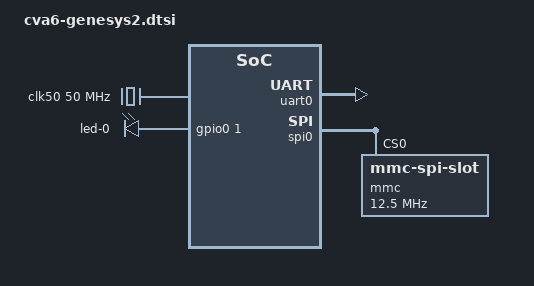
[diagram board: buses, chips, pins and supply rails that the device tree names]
// SPDX-License-Identifier: (GPL-2.0-only OR BSD-3-Clause)
/*
 * Copyright 2026 NXP
 *
 * OpenHW Group CVA6 APU on the Digilent Genesys 2 FPGA board.
 *
 * The SoC description is shared between the 32-bit (cv32a6) and the
 * 64-bit (cv64a6) configurations of the CVA6 core. The core specific
 * properties and the memory size are set in the board .dts files.
 */

/ {
	#address-cells = <2>;
	#size-cells = <2>;

	aliases {
		serial0 = &uart0;
	};

	chosen {
		stdout-path = "serial0:115200n8";
	};

	cpus {
		#address-cells = <1>;
		#size-cells = <0>;
		/* The CLINT mtime counter runs at half the core clock */
		timebase-frequency = <25000000>;

		cpu0: cpu@0 {
			device_type = "cpu";
			reg = <0>;
			clocks = <&clk50>;
			tlb-split;

			cpu0_intc: interrupt-controller {
				#interrupt-cells = <1>;
				interrupt-controller;
				compatible = "riscv,cpu-intc";
			};
		};
	};

	/*
	 * Core and peripheral clock. It is an output of an MMCM that the
	 * bitstream configures for 50 MHz and that has no register interface.
	 */
	clk50: clock-50mhz {
		compatible = "fixed-clock";
		#clock-cells = <0>;
		clock-frequency = <50000000>;
		clock-output-names = "clk50";
	};

	leds {
		compatible = "gpio-leds";

		led-0 {
			gpios = <&gpio0 1 0>;
			linux,default-trigger = "heartbeat";
		};
	};

	soc {
		#address-cells = <2>;
		#size-cells = <2>;
		compatible = "simple-bus";
		ranges;

		clint: clint@2000000 {
			compatible = "openhwgroup,cva6-clint", "sifive,clint0";
			reg = <0x0 0x2000000 0x0 0xc0000>;
			interrupts-extended = <&cpu0_intc 3>, <&cpu0_intc 7>;
		};

		plic: interrupt-controller@c000000 {
			compatible = "openhwgroup,cva6-plic", "sifive,plic-1.0.0";
			reg = <0x0 0xc000000 0x0 0x4000000>;
			#address-cells = <0>;
			#interrupt-cells = <1>;
			interrupt-controller;
			interrupts-extended = <&cpu0_intc 11>, <&cpu0_intc 9>;
			riscv,ndev = <30>;
		};

		uart0: serial@10000000 {
			compatible = "ns16550a";
			reg = <0x0 0x10000000 0x0 0x1000>;
			clock-frequency = <50000000>;
			interrupt-parent = <&plic>;
			interrupts = <1>;
			/* Registers are 32-bit wide and 32-bit aligned */
			reg-shift = <2>;
			reg-io-width = <4>;
		};

		spi0: spi@20000000 {
			compatible = "xlnx,xps-spi-2.00.a";
			reg = <0x0 0x20000000 0x0 0x1000>;
			#address-cells = <1>;
			#size-cells = <0>;
			interrupt-parent = <&plic>;
			interrupts = <2>;
			xlnx,num-ss-bits = <1>;
			xlnx,num-transfer-bits = <8>;

			mmc@0 {
				compatible = "mmc-spi-slot";
				reg = <0>;
				spi-max-frequency = <12500000>;
				voltage-ranges = <3300 3300>;
				disable-wp;
			};
		};

		gpio0: gpio@40000000 {
			compatible = "xlnx,xps-gpio-1.00.a";
			reg = <0x0 0x40000000 0x0 0x10000>;
			clocks = <&clk50>;
			#gpio-cells = <2>;
			gpio-controller;
			xlnx,all-inputs = <0>;
			xlnx,all-inputs-2 = <0>;
			xlnx,dout-default = <0>;
			xlnx,dout-default-2 = <0>;
			xlnx,gpio-width = <8>;
			xlnx,gpio2-width = <8>;
			xlnx,interrupt-present = <0>;
			xlnx,is-dual = <1>;
			xlnx,tri-default = <0xffffffff>;
			xlnx,tri-default-2 = <0xffffffff>;
		};
	};
};
